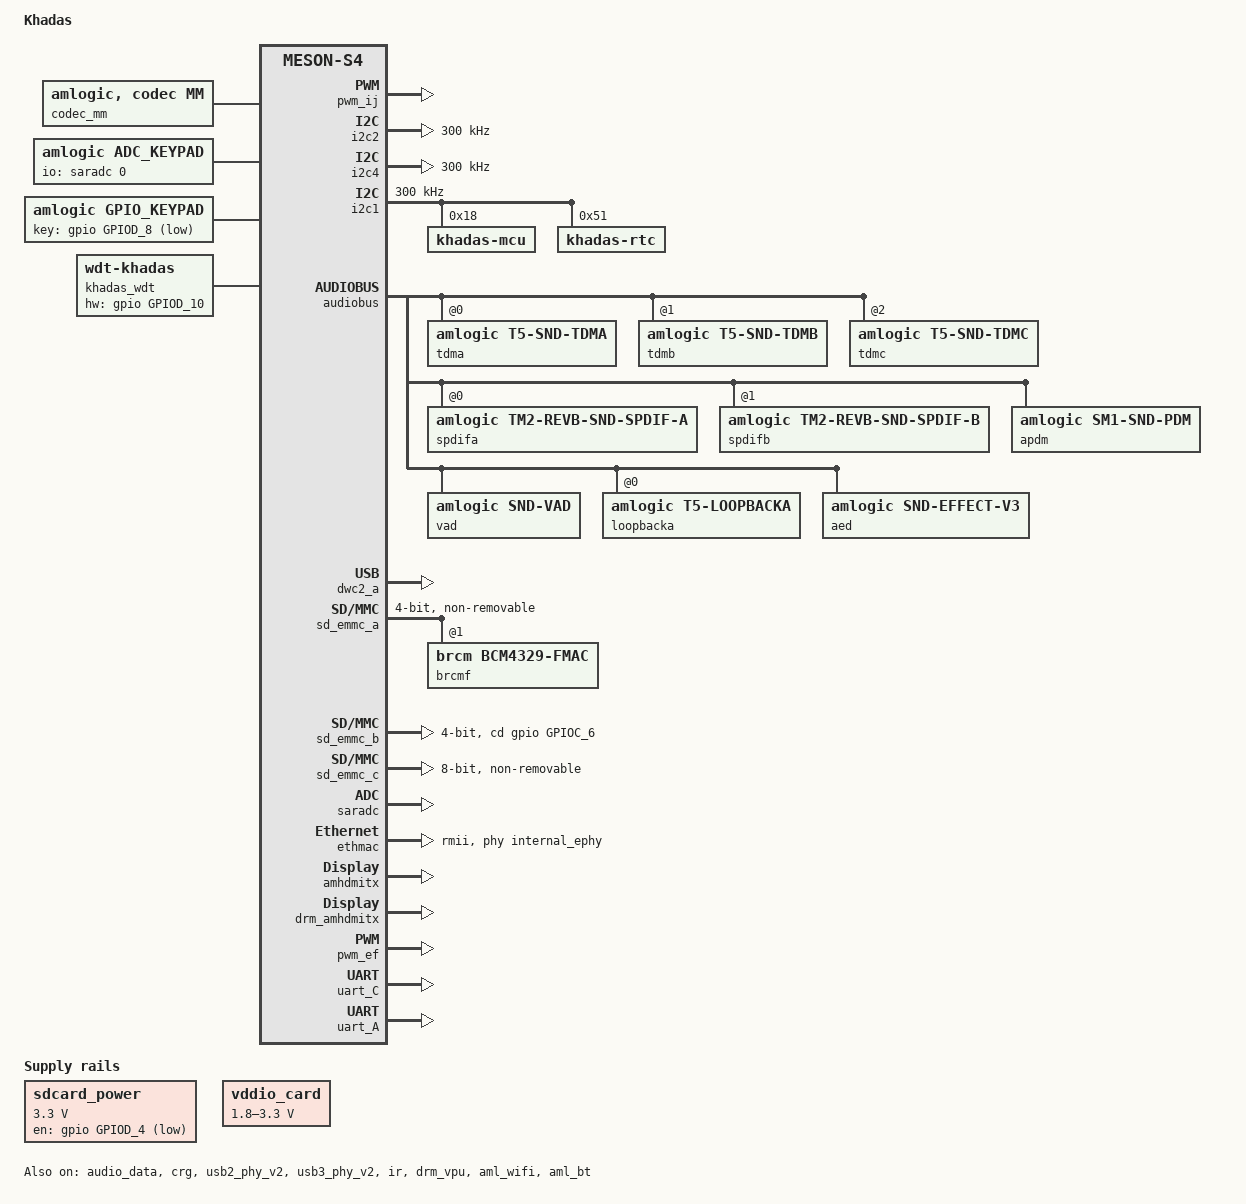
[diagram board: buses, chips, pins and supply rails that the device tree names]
// SPDX-License-Identifier: (GPL-2.0+ OR MIT)
/*
 * Copyright (c) 2019 Amlogic, Inc. All rights reserved.
 */

/dts-v1/;

#include "meson-s4.dtsi"
#include "mesons4_drm.dtsi"
#include "partition_mbox_ab.dtsi"
#include <dt-bindings/input/input.h>

/ {
	model = "Khadas";
	amlogic-dt-id = "kvim1s";
	compatible = "Khadas, kvim1s";
	interrupt-parent = <&gic>;
	#address-cells = <2>;
	#size-cells = <2>;

	aliases {
		serial0 = &uart_B;
		serial1 = &uart_A;
		serial2 = &uart_C;
		serial3 = &uart_D;
		serial4 = &uart_E;
		i2c0 = &i2c0;
		i2c1 = &i2c1;
		i2c2 = &i2c2;
		i2c3 = &i2c3;
		i2c4 = &i2c4;
		spi0 = &spifc;
		spi1 = &spicc0;
		tsensor0 = &p_tsensor;
	};

	memory@00000000 {
		device_type = "memory";
		linux,usable-memory = <0x0 0x0 0x0 0x80000000>;
	};

	reserved-memory {
		#address-cells = <2>;
		#size-cells = <2>;
		ranges;

		/* global autoconfigured region for contiguous allocations */
		ramoops@0x07400000 {
			compatible = "ramoops";
			reg = <0x0 0x07400000 0x0 0x00100000>;
			record-size = <0x20000>;
			console-size = <0x40000>;
			ftrace-size = <0x80000>;
			pmsg-size = <0x10000>;
			bconsole-size = <0x10000>;
		};

		secmon_reserved:linux,secmon {
			compatible = "shared-dma-pool";
			reusable;
			size = <0x0 0x3400000>;
			alignment = <0x0 0x400000>;
			alloc-ranges = <0x0 0x05000000 0x0 0x3400000>;
		};

		logo_reserved:linux,meson-fb {
			compatible = "shared-dma-pool";
			reusable;
			size = <0x0 0x800000>;
			alignment = <0x0 0x400000>;
			alloc-ranges = <0x0 0x7f800000 0x0 0x800000>;
		};

		ion_cma_reserved:linux,ion-dev {
			compatible = "shared-dma-pool";
			reusable;
			size = <0x0 0x5c00000>;
			alignment = <0x0 0x400000>;
		};
		ion_fb_reserved:linux,ion-fb {
			compatible = "shared-dma-pool";
			reusable;
			/* 1920x1080x4x4 round up 4M align */
			size = <0x0 0x2400000>;
			alignment = <0x0 0x400000>;
		};
		/*di CMA pool */
		di_cma_reserved:linux,di_cma {
			compatible = "shared-dma-pool";
			reusable;
			/* buffer_size = 3621952(yuv422 8bit)
			 *  | 4736064(yuv422 10bit)
			 *  | 4074560(yuv422 10bit full pack mode)
			 * 10x3621952=34.6M(0x23) support 8bit
			 * 10x4736064=45.2M(0x2e) support 12bit
			 * 10x4074560=40M(0x28) support 10bit
			 */
			//size = <0x0 0x0B000000>;
			//size = <0x0 0x0>;
			alignment = <0x0 0x400000>;
		};

		/*  POST PROCESS MANAGER */
		ppmgr_reserved:linux,ppmgr {
			compatible = "shared-dma-pool";
			size = <0x0>;
		};

		codec_mm_cma:linux,codec_mm_cma {
			compatible = "shared-dma-pool";
			reusable;
			/* ion_codec_mm max can alloc size 80M*/
			size = <0x0 0x1b000000>;
			alignment = <0x0 0x400000>;
			linux,contiguous-region;
		};

		/* codec shared reserved */
		codec_mm_reserved:linux,codec_mm_reserved {
			compatible = "amlogic, codec-mm-reserved";
			size = <0x0 0x0>;
			alignment = <0x0 0x100000>;
			//no-map;
		};

		/*  vdin0 CMA pool */
		//vdin0_cma_reserved:linux,vdin0_cma {
		//	compatible = "shared-dma-pool";
		//	reusable;
			/* up to 1920x1080 yuv422 8bit and 5 buffers
			 * 1920x1080x2x5 = 20 M
			 */
		//	size = <0x0 0x01400000>;
		//	alignment = <0x0 0x400000>;
		//};
		/*  vdin1 CMA pool */
		vdin1_cma_reserved:linux,vdin1_cma {
			compatible = "shared-dma-pool";
			reusable;
			/* up to 1920x1080 yuv422 8bit and 5 buffers
			 * 1920x1080x2x5 = 20 M
			 */
			size = <0x0 0x01400000>;
			alignment = <0x0 0x400000>;
		};

		/* demod_reserved:linux,demod {
		 *	compatible = "amlogic, demod-mem";
		 *	size = <0x0 0x6400000>; //8M //100m 0x6400000
		 *	alloc-ranges = <0x0 0x0 0x0 0x30000000>;
		 *	//multi-use;
		 *	//no-map;
		 * };
		 */

		demod_cma_reserved:linux,demod_cma {
			compatible = "shared-dma-pool";
			reusable;
			/* 20M */
			size = <0x0 0x0>;
			alignment = <0x0 0x400000>;
		};
	};
	sdcard_power: regulator-sdcard {
		compatible = "regulator-fixed";
		regulator-name = "SDCARD_POWER";
		regulator-min-microvolt = <3300000>;
		regulator-max-microvolt = <3300000>;
		gpio = <&gpio GPIOD_4 GPIO_ACTIVE_LOW>;
		enable-active-low;
		regulator-always-on;
	};

	vddio_card: gpio-regulator {
		compatible = "regulator-gpio";
		regulator-name = "VDDIO_CARD";
		regulator-min-microvolt = <1800000>;
		regulator-max-microvolt = <3300000>;
		gpios = <&gpio GPIOD_9 GPIO_ACTIVE_HIGH>;
		gpios-states = <1>;
		states = <1800000 1
			3300000 0>;
	};

	codec_mm {
		compatible = "amlogic, codec, mm";
		memory-region = <&codec_mm_cma &codec_mm_reserved>;
		dev_name = "codec_mm";
		status = "okay";
	};
	amdolby_vision {
		compatible = "amlogic, dolby_vision_sc2";
		dev_name = "aml_amdolby_vision_driver";
		status = "disabled";
		tv_mode = <0>;/*1:enabel ;0:disable*/
	};

	ionvideo {
		compatible = "amlogic, ionvideo";
		dev_name = "ionvideo";
		status = "okay";
	};

	amlvideo2_0 {
		compatible = "amlogic, amlvideo2";
		dev_name = "amlvideo2";
		status = "okay";
		amlvideo2_id = <0>;
		cma_mode = <1>;
	};

	amlvideo2_1 {
		compatible = "amlogic, amlvideo2";
		dev_name = "amlvideo2";
		status = "okay";
		amlvideo2_id = <1>;
		cma_mode = <1>;
	};

	ppmgr {
		compatible = "amlogic, ppmgr";
		memory-region = <&ppmgr_reserved>;
		dev_name = "ppmgr";
		status = "okay";
	};

	amlvecm {
		compatible = "amlogic, vecm";
		dev_name = "aml_vecm";
		status = "okay";
		gamma_en = <0>;/*1:enabel ;0:disable*/
		wb_en = <0>;/*1:enabel ;0:disable*/
		cm_en = <0>;/*1:enabel ;0:disable*/
		/*0: 709/601  1: bt2020*/
		tx_op_color_primary = <0>;
	};

	multi-di {
		compatible = "amlogic, dim-s4";
		status = "okay";
		/* 0:use reserved; 1:use cma; 2:use cma as reserved */
		flag_cma = <4>;	//<1>;
		//memory-region = <&di_reserved>;
		//memory-region = <&di_cma_reserved>;
		interrupts = <0 203 1
				0 202 1>;
		interrupt-names = "pre_irq", "post_irq";
		clocks = <&clkc CLKID_VPU_CLKB>,
			<&clkc CLKID_VPU>;
		clock-names = "vpu_clkb",
			"vpu_mux";
		clock-range = <334 667>;
		/* buffer-size = <3621952>;(yuv422 8bit) */
		buffer-size = <4074560>;/*yuv422 fullpack*/
		/* reserve-iomap = "true"; */
		/* if enable nr10bit, set nr10bit-support to 1 */
		post-wr-support = <1>;
		nr10bit-support = <1>;
		nrds-enable = <1>;
		pps-enable = <1>;
	};

	provisionkey {
		compatible = "amlogic, provisionkey";
		status = "disabled";
		key-permit-default = "write";
		//new key not need add dts if started with KEY_PROVISION_
		KEY_PROVISION_XXX { };
		//test_my_added_keyname { };
	};//End provisionkey

	unifykey{
		compatible = "amlogic,unifykey";
		status = "ok";
		unifykey-num = <19>;
		unifykey-index-0 = <&keysn_0>;
		unifykey-index-1 = <&keysn_1>;
		unifykey-index-2 = <&keysn_2>;
		unifykey-index-3 = <&keysn_3>;
		unifykey-index-4 = <&keysn_4>;
		unifykey-index-5 = <&keysn_5>;
		unifykey-index-6 = <&keysn_6>;
		unifykey-index-7 = <&keysn_7>;
		unifykey-index-8 = <&keysn_8>;
		unifykey-index-9 = <&keysn_9>;
		unifykey-index-10= <&keysn_10>;
		unifykey-index-11= <&keysn_11>;
		unifykey-index-12= <&keysn_12>;
		unifykey-index-13= <&keysn_13>;
		unifykey-index-14= <&keysn_14>;
		unifykey-index-15= <&keysn_15>;
		unifykey-index-16= <&keysn_16>;
		unifykey-index-17= <&keysn_17>;
		unifykey-index-18= <&keysn_18>;

		keysn_0: key_0{
			key-name = "usid";
			key-device = "normal";
			key-permit = "read","write","del";
		};
		keysn_1:key_1{
			key-name = "mac";
			key-device = "normal";
			key-permit = "read","write","del";
		};
		keysn_2:key_2{
			key-name = "hdcp";
			key-device = "secure";
			key-type = "sha1";
			key-permit = "read","write","del";
		};
		keysn_3:key_3{
			key-name = "secure_boot_set";
			key-device = "efuse";
			key-permit = "write";
		};
		keysn_4:key_4{
			key-name = "mac_bt";
			key-device = "normal";
			key-permit = "read","write","del";
			key-type  = "mac";
		};
		keysn_5:key_5{
			key-name = "mac_wifi";
			key-device = "normal";
			key-permit = "read","write","del";
			key-type = "mac";
		};
		keysn_6:key_6{
			key-name = "hdcp2_tx";
			key-device = "normal";
			key-permit = "read","write","del";
		};
		keysn_7:key_7{
			key-name = "hdcp2_rx";
			key-device = "normal";
			key-permit = "read","write","del";
		};
		keysn_8:key_8{
			key-name = "widevinekeybox";
			key-device = "secure";
			key-permit = "read","write","del";
		};
		keysn_9:key_9{
			key-name = "deviceid";
			key-device = "normal";
			key-permit = "read","write","del";
		};
		keysn_10:key_10{
			key-name = "hdcp22_fw_private";
			key-device = "secure";
			key-permit = "read","write","del";
		};
		keysn_11:key_11{
			key-name = "PlayReadykeybox25";
			key-device = "secure";
			key-permit = "read","write","del";
		};
		keysn_12:key_12{
			key-name = "prpubkeybox";// PlayReady
			key-device = "secure";
			key-permit = "read","write","del";
		};
		keysn_13:key_13{
			key-name = "prprivkeybox";// PlayReady
			key-device = "secure";
			key-permit = "read","write","del";
		};
		keysn_14:key_14{
			key-name = "attestationkeybox";// attestation key
			key-device = "secure";
			key-permit = "read","write","del";
		};
		keysn_15:key_15{
			key-name = "region_code";
			key-device = "normal";
			key-permit = "read","write","del";
		};
		keysn_16:key_16{
			key-name = "netflix_mgkid";
			key-device = "secure";
			key-permit = "read","write","del";
		};
		keysn_17:key_17{
			key-name = "attestationdevidbox";// attest dev id box
			key-device = "secure";
			key-permit = "read","write","del";
		};
		keysn_18:key_18{
			key-name = "oemkey";
			key-device = "normal";
			key-permit = "read","write","del";
		};
	};//End unifykey

	efusekey:efusekey{
		keynum = <4>;
		key0 = <&key_0>;
		key1 = <&key_1>;
		key2 = <&key_2>;
		key3 = <&key_3>;
		key_0:key_0{
			keyname = "mac";
			offset = <0>;
			size = <6>;
		};
		key_1:key_1{
			keyname = "mac_bt";
			offset = <6>;
			size = <6>;
		};
		key_2:key_2{
			keyname = "mac_wifi";
			offset = <12>;
			size = <6>;
		};
		key_3:key_3{
			keyname = "usid";
			offset = <18>;
			size = <16>;
		};
	};//End efusekey
	/* Audio Related start */

	auge_sound {
		compatible = "amlogic, auge-sound-card";
		aml-audio-card,name = "AML-AUGESOUND";

		aml-audio-card,dai-link@0 {
			format = "dsp_a";
			mclk-fs = <512>;
			//continuous-clock;
			//bitclock-inversion;
			//frame-inversion;
			/* master mode */
			bitclock-master = <&tdma>;
			frame-master = <&tdma>;
			/* slave mode */
			/*
			 * bitclock-master = <&tdmacodec>;
			 * frame-master = <&tdmacodec>;
			 */
			suffix-name = "alsaPORT-pcm";
			tdmacpu: cpu {
				sound-dai = <&tdma>;
				dai-tdm-slot-tx-mask =
							<1>;
				dai-tdm-slot-rx-mask =
							<1>;
				dai-tdm-slot-num = <2>;
				dai-tdm-slot-width = <16>;
				system-clock-frequency = <256000>;
			};
			tdmacodec: codec {
				sound-dai = <&dummy_codec>;
			};
		};

		aml-audio-card,dai-link@1 {
			format = "i2s";// "dsp_a";
			mclk-fs = <256>;
			continuous-clock;
			//bitclock-inversion;
			//frame-inversion;
			/* master mode */
			bitclock-master = <&tdmb>;
			frame-master = <&tdmb>;
			/* slave mode */
			//bitclock-master = <&tdmbcodec>;
			//frame-master = <&tdmbcodec>;
			/* suffix-name, sync with android audio hal
			 * what's the dai link used for
			 */
			suffix-name = "alsaPORT-i2s";
			cpu {
				sound-dai = <&tdmb>;
				dai-tdm-slot-tx-mask = <1 1>;
				dai-tdm-slot-rx-mask = <1 1>;
				dai-tdm-slot-num = <2>;
				/*
				 * dai-tdm-slot-tx-mask =
				 *	<1 1 1 1 1 1 1 1>;
				 * dai-tdm-slot-rx-mask =
				 *	<1 1 1 1 1 1 1 1>;
				 * dai-tdm-slot-num = <8>;
				 */
				dai-tdm-slot-width = <32>;
				system-clock-frequency = <12288000>;
			};
			tdmbcodec: codec {
				sound-dai = <&amlogic_codec>;
			};
		};

		aml-audio-card,dai-link@2 {
			format = "i2s";
			mclk-fs = <256>;
			//continuous-clock;
			//bitclock-inversion;
			//frame-inversion;
			/* master mode */
			bitclock-master = <&tdmc>;
			frame-master = <&tdmc>;
			/* slave mode */
			//bitclock-master = <&tdmccodec>;
			//frame-master = <&tdmccodec>;
			/* suffix-name, sync with android audio hal used for */
			cpu {
				sound-dai = <&tdmc>;
				dai-tdm-slot-tx-mask = <1 1>;
				dai-tdm-slot-rx-mask = <1 1>;
				dai-tdm-slot-num = <2>;
				dai-tdm-slot-width = <32>;
				system-clock-frequency = <12288000>;
			};
			tdmccodec: codec {
				sound-dai = <&dummy_codec>;
			};
		};

		aml-audio-card,dai-link@3 {
			mclk-fs = <64>;
			/* suffix-name, sync with android audio hal
			 * what's the dai link used for
			 */
			suffix-name = "alsaPORT-pdm-builtinmic";
			cpu {
				sound-dai = <&apdm>;
			};
			codec {
				sound-dai = <&dummy_codec>;
			};
		};

		aml-audio-card,dai-link@4 {
			mclk-fs = <128>;
			/* suffix-name, sync with android audio hal used for */
			suffix-name = "alsaPORT-spdif";
			cpu {
				sound-dai = <&spdifa>;
				system-clock-frequency = <6144000>;
			};
			codec {
				sound-dai = <&dummy_codec>;
			};
		};
		/* spdif_b to hdmi, only playback */
		aml-audio-card,dai-link@5 {
			mclk-fs = <128>;
			continuous-clock;
			/* suffix-name, sync with android audio hal
			 * what's the dai link used for
			 */
			suffix-name = "alsaPORT-spdifb";
			cpu {
				sound-dai = <&spdifb>;
				system-clock-frequency = <6144000>;
			};
			codec {
				sound-dai = <&dummy_codec>;
			};
		};

		aml-audio-card,dai-link@6 {
			mclk-fs = <256>;
			continuous-clock;
			suffix-name = "alsaPORT-loopback";
			cpu {
				sound-dai = <&loopbacka>;
				system-clock-frequency = <12288000>;
			};
			codec {
				sound-dai = <&dummy_codec>;
			};
		};
	};

	picdec {
		compatible = "amlogic, picdec";
		status = "okay";
	};

	audiolocker: locker {
		compatible = "amlogic, audiolocker";
		clock-names = "lock_out", "lock_in", "out_src",
					"in_src", "out_calc", "in_ref";
		interrupts = <GIC_SPI 1 IRQ_TYPE_EDGE_RISING>;
		interrupt-names = "irq";
		frequency = <49000000>; /* pll */
		dividor = <49>; /* locker's parent */
		status = "disabled";
	};/* Audio Related end */

	adc_keypad {
		compatible = "amlogic, adc_keypad";
		status = "okay";
		key_name = "home";
		key_num = <1>;
		io-channels = <&saradc 0>;
		io-channel-names = "key-chan-0";
		key_chan = <0>;
		key_code = <102>;
		key_val = <108>; //val=voltage/1800mV*1023
		key_tolerance = <40>;
	};

	gpio_keypad{
		compatible = "amlogic, gpio_keypad";
		status = "okay";
		scan_period = <20>;
		key_num = <1>;
		key_name = "power";
		key_code = <116>;
		key-gpios = <&gpio  GPIOD_8  GPIO_ACTIVE_LOW>;
		detect_mode = <0>;/*0:polling mode, 1:irq mode*/
	};
	khadas-hwver {
		compatible = "khadas-hwver";
		status = "okay";
        };

	khadas_wdt {
		compatible = "linux,wdt-khadas";
		status = "okay";
		hw_margin_ms = <500>;
		hw-gpios = <&gpio  GPIOD_10  GPIO_ACTIVE_HIGH>;
	};
};

&pwm_ij {
	status = "okay";
};

&i2c2 {
	status = "okay";
	pinctrl-names="default";
	pinctrl-0=<&i2c2_pins2>;
	clock-frequency = <300000>;
};

&i2c4 {
	status = "okay";
	pinctrl-names="default";
	pinctrl-0=<&i2c4_pins3>;
	clock-frequency = <300000>;
};

&i2c1 {
	status = "okay";
	pinctrl-names="default";
	pinctrl-0=<&i2c1_pins2>;
	clock-frequency = <300000>; /* default 100k */
	khadas-mcu@18 {
		    status = "okay";
		    compatible = "khadas-mcu";
		    reg = <0x18>;
		    fan,trig_temp_level0 = <50>;
		    fan,trig_temp_level1 = <60>;
		    fan,trig_temp_level2 = <70>;
		    fan,trig_temp_level3 = <80>;
		    hwver = "VIM1S.V10";
        };
        khadas-rtc {
            compatible = "khadas-rtc";
            reg = <0x51>;
       };
};

&vddcpu0 {
	status = "okay";
};

&CPU0 {
	multi_tables_available;
	operating-points-v2 = <&s905y4_opp_table0>,
		<&s905y4_opp_table1>,
		<&s905y4_opp_table2>,
		<&s905y4_opp_table3>;
};

&CPU1 {
	multi_tables_available;
	operating-points-v2 = <&s905y4_opp_table0>,
		<&s905y4_opp_table1>,
		<&s905y4_opp_table2>,
		<&s905y4_opp_table3>;
};

&CPU2 {
	multi_tables_available;
	operating-points-v2 = <&s905y4_opp_table0>,
		<&s905y4_opp_table1>,
		<&s905y4_opp_table2>,
		<&s905y4_opp_table3>;
};

&CPU3 {
	multi_tables_available;
	operating-points-v2 = <&s905y4_opp_table0>,
		<&s905y4_opp_table1>,
		<&s905y4_opp_table2>,
		<&s905y4_opp_table3>;
};

&audiobus {
	tdma: tdm@0 {
		compatible = "amlogic, t5-snd-tdma";
		#sound-dai-cells = <0>;
		dai-tdm-lane-slot-mask-in = <1>;
		dai-tdm-lane-slot-mask-out = <1 0>;
		dai-tdm-clk-sel = <0>;
		clocks = <&clkaudio CLKID_AUDIO_MCLK_A
				&clkc CLKID_MPLL0>;
		clock-names = "mclk", "clk_srcpll";
		//pinctrl-names = "tdm_pins";
		//pinctrl-0 = <&tdm_a
			//&tdm_d0_pins
			//&tdm_d1_pins
			//&tdma_clk_pins>;

		status = "okay";
	};

	tdmb: tdm@1 {
		compatible = "amlogic, t5-snd-tdmb";
		#sound-dai-cells = <0>;
		dai-tdm-lane-slot-mask-in = <1 0>;
		dai-tdm-lane-slot-mask-out = <1 1 1 1>;
		dai-tdm-clk-sel = <1>;
		clocks = <&clkaudio CLKID_AUDIO_MCLK_B
		        &clkaudio CLKID_AUDIO_MCLK_PAD2
				&clkc CLKID_MPLL1>;
		clock-names = "mclk", "mclk_pad",  "clk_srcpll";
        /*
		 * 0: tdmout_a;
		 * 1: tdmout_b;
		 * 2: tdmout_c;
		 * 3: spdifout;
		 * 4: spdifout_b;
		 */
		samesource_sel = <3>;

		pinctrl-names = "tdm_pins";
			pinctrl-0 = <&mclk_2_pins
				&tdm_b_pins
				&tdm_d4_pins
				&tdm_d5_pins
				&tdmb_clk_pins>;

		/*enable default mclk(12.288M), before extern codec start*/
		start_clk_enable = <1>;

		/*tdm clk tuning enable*/
		clk_tuning_enable = <1>;

		status = "okay";

		/* !!!For --TV platform-- ONLY */
		Channel_Mask {
			/*i2s has 4 pins, 8channel, mux output*/
			Spdif_samesource_Channel_Mask = "i2s_0/1";
		};
	};

	tdmc: tdm@2 {
		compatible = "amlogic, t5-snd-tdmc";
		#sound-dai-cells = <0>;
		dai-tdm-lane-slot-mask-in = <1>;
		dai-tdm-lane-slot-mask-out = <1>;
		dai-tdm-clk-sel = <2>;
		clocks = <&clkaudio CLKID_AUDIO_MCLK_C
				&clkaudio CLKID_AUDIO_MCLK_PAD0
				&clkc CLKID_MPLL2>;
		clock-names = "mclk", "mclk_pad", "clk_srcpll";
		/*
		 * 0: tdmout_a;
		 * 1: tdmout_b;
		 * 2: tdmout_c;
		 * 3: spdifout;
		 * 4: spdifout_b;
		 */
		samesource_sel = <3>;

		/*enable default mclk(12.288M), before extern codec start*/
		start_clk_enable = <1>;

		/*tdm clk tuning enable*/
		clk_tuning_enable = <1>;

		status = "okay";
	};

	spdifa: spdif@0 {
		compatible = "amlogic, tm2-revb-snd-spdif-a";
		#sound-dai-cells = <0>;
		clocks = <&clkc CLKID_MPLL0
				&clkc CLKID_FCLK_DIV4
				&clkaudio CLKID_AUDIO_GATE_SPDIFIN
				&clkaudio CLKID_AUDIO_GATE_SPDIFOUT_A
				&clkaudio CLKID_AUDIO_SPDIFIN
				&clkaudio CLKID_AUDIO_SPDIFOUT_A>;
		clock-names = "sysclk", "fixed_clk", "gate_spdifin",
				"gate_spdifout", "clk_spdifin", "clk_spdifout";
		interrupts =
				<GIC_SPI 35 IRQ_TYPE_EDGE_RISING>;

		interrupt-names = "irq_spdifin";
		pinctrl-names = "spdif_pins", "spdif_pins_mute";
		pinctrl-0 = <&spdifout>;
		pinctrl-1 = <&spdifout_a_mute>;

		/*spdif clk tuning enable*/
		clk_tuning_enable = <1>;

		status = "okay";
	};
	spdifb: spdif@1 {
		compatible = "amlogic, tm2-revb-snd-spdif-b";
		#sound-dai-cells = <0>;
		clocks = <&clkc CLKID_MPLL1 /*CLKID_HIFI_PLL*/
				&clkaudio CLKID_AUDIO_GATE_SPDIFOUT_B
				&clkaudio CLKID_AUDIO_SPDIFOUT_B>;
		clock-names = "sysclk",
				"gate_spdifout", "clk_spdifout";

		status = "okay";
	};
	apdm: pdm {
		compatible = "amlogic, sm1-snd-pdm";
		#sound-dai-cells = <0>;

		clocks = <&clkaudio CLKID_AUDIO_GATE_PDM
			&clkc CLKID_FCLK_DIV3
			&clkc CLKID_MPLL3
			&clkaudio CLKID_AUDIO_PDMIN0
			&clkaudio CLKID_AUDIO_PDMIN1>;
		clock-names = "gate",
			"sysclk_srcpll",
			"dclk_srcpll",
			"pdm_dclk",
			"pdm_sysclk";

		pinctrl-names = "pdm_pins";
		pinctrl-0 = <&pdmin>;

		/* mode 0~4, defalut:1 */
		filter_mode = <1>;

		status = "okay";
	};

	asrca: resample@0 {
		compatible = "amlogic, t5-resample-a";
		clocks = <&clkc CLKID_MPLL3
				&clkaudio CLKID_AUDIO_MCLK_F
				&clkaudio CLKID_AUDIO_RESAMPLE_A>;
		clock-names = "resample_pll", "resample_src", "resample_clk";
		/*same with toddr_src
		 *	TDMIN_A, 0
		 *	TDMIN_B, 1
		 *	TDMIN_C, 2
		 *	SPDIFIN, 3
		 *	PDMIN,  4
		 *	NONE,
		 *	TDMIN_LB, 6
		 *	LOOPBACK, 7
		 */
		resample_module = <4>;
		status = "disabled";
	};

	asrcb:resample@1 {
		compatible = "amlogic, t5-resample-b";
		clocks = <&clkc CLKID_MPLL3
			&clkaudio CLKID_AUDIO_MCLK_F
			&clkaudio CLKID_AUDIO_RESAMPLE_B>;
		clock-names = "resample_pll", "resample_src", "resample_clk";

		/*this resample is only used for loopback_A.*/
		capture_sample_rate = <16000>;

		status = "disabled";
	};

	vad:vad {
		compatible = "amlogic, snd-vad";
		#sound-dai-cells = <0>;

		clocks = <&clkaudio CLKID_AUDIO_GATE_TOVAD
			&clkc CLKID_FCLK_DIV5
			&clkaudio CLKID_AUDIO_VAD>;
		clock-names = "gate", "pll", "clk";

		interrupts = <GIC_SPI 39 IRQ_TYPE_EDGE_RISING
				GIC_SPI 44 IRQ_TYPE_EDGE_RISING>;
		interrupt-names = "irq_wakeup", "irq_frame_sync";

		/*
		 * Data src sel:
		 * 0: tdmin_a;
		 * 1: tdmin_b;
		 * 2: tdmin_c;
		 * 3: spdifin;
		 * 4: pdmin;
		 * 5: loopback_b;
		 * 6: tdmin_lb;
		 * 7: loopback_a;
		 */
		src = <4>;

		/*
		 * deal with hot word in user space or kernel space
		 * 0: in user space
		 * 1: in kernel space
		 */
		level = <1>;

		status = "okay";
	};

	loopbacka:loopback@0 {
		compatible = "amlogic, t5-loopbacka";
		#sound-dai-cells = <0>;

		clocks = <&clkaudio CLKID_AUDIO_GATE_PDM
			&clkc CLKID_FCLK_DIV3
			&clkc CLKID_MPLL3
			&clkaudio CLKID_AUDIO_PDMIN0
			&clkaudio CLKID_AUDIO_PDMIN1
			&clkc CLKID_MPLL0
			&clkaudio CLKID_AUDIO_MCLK_A>;
		clock-names = "pdm_gate",
			"pdm_sysclk_srcpll",
			"pdm_dclk_srcpll",
			"pdm_dclk",
			"pdm_sysclk",
			"tdminlb_mpll",
			"tdminlb_mclk";

		/* datain src
		 * 0: tdmin_a;
		 * 1: tdmin_b;
		 * 2: tdmin_c;
		 * 3: spdifin;
		 * 4: pdmin;
		 */
		datain_src = <4>;
		datain_chnum = <0>;
		datain_chmask = <0x0>;
		/* config which data pin for loopback */
		datain-lane-mask-in = <0 0 0 0>;

		/* calc mclk for datalb */
		mclk-fs = <256>;

		/* tdmin_lb src
		 * 0: tdmoutA
		 * 1: tdmoutB
		 * 2: tdmoutC
		 * 3: PAD_TDMINA_DIN*, refer to core pinmux
		 * 4: PAD_TDMINB_DIN*, refer to core pinmux
		 * 5: PAD_TDMINC_DIN*, refer to core pinmux
		 * 6: PAD_TDMINA_D*, oe, refer to core pinmux
		 * 7: PAD_TDMINB_D*, oe, refer to core pinmux
		 */
		/* if tdmin_lb >= 3, use external loopback */
		datalb_src = <2>;
		datalb_chnum = <2>;
		datalb_chmask = <0x3>;
		/* config which data pin as loopback */
		datalb-lane-mask-in = <1 0 0 0>;

		status = "okay";
	};

	loopbackb:loopback@1 {
		compatible = "amlogic, t5-loopbackb";
		#sound-dai-cells = <0>;

		clocks = <&clkaudio CLKID_AUDIO_GATE_PDM
			&clkc CLKID_FCLK_DIV3
			&clkc CLKID_MPLL3
			&clkaudio CLKID_AUDIO_PDMIN0
			&clkaudio CLKID_AUDIO_PDMIN1
			&clkc CLKID_MPLL0
			&clkaudio CLKID_AUDIO_MCLK_A>;
		clock-names = "pdm_gate",
			"pdm_sysclk_srcpll",
			"pdm_dclk_srcpll",
			"pdm_dclk",
			"pdm_sysclk",
			"tdminlb_mpll",
			"tdminlb_mclk";

		/* calc mclk for datain_lb */
		mclk-fs = <256>;

		/* datain src
		 * 0: tdmin_a;
		 * 1: tdmin_b;
		 * 2: tdmin_c;
		 * 3: spdifin;
		 * 4: pdmin;
		 */
		datain_src = <4>;
		datain_chnum = <4>;
		datain_chmask = <0xf>;
		/* config which data pin for loopback */
		datain-lane-mask-in = <1 0 1 0>;

		/* tdmin_lb src
		 * 0: tdmoutA
		 * 1: tdmoutB
		 * 2: tdmoutC
		 * 3: PAD_TDMINA_DIN*, refer to core pinmux
		 * 4: PAD_TDMINB_DIN*, refer to core pinmux
		 * 5: PAD_TDMINC_DIN*, refer to core pinmux
		 * 6: PAD_TDMINA_D*, oe, refer to core pinmux
		 * 7: PAD_TDMINB_D*, oe, refer to core pinmux
		 */
		/* if tdmin_lb >= 3, use external loopback */
		datalb_src = <1>;
		datalb_chnum = <2>;
		datalb_chmask = <0x3>;
		/* config which data pin as loopback */
		datalb-lane-mask-in = <1 0 0 0>;

		status = "disabled";
	};
	aed:effect {
		compatible = "amlogic, snd-effect-v3";
		#sound-dai-cells = <0>;
		clocks = <&clkaudio CLKID_AUDIO_GATE_EQDRC
			&clkc CLKID_FCLK_DIV5
			&clkaudio CLKID_AUDIO_EQDRC>;
		clock-names = "gate", "srcpll", "eqdrc";
		/*
		 * 0:tdmout_a
		 * 1:tdmout_b
		 * 2:tdmout_c
		 * 3:spdifout
		 * 4:spdifout_b
		 */
		eqdrc_module = <2>;
		/* max 0xf, each bit for one lane, usually one lane */
		lane_mask = <0x1>;
		/* max 0xff, each bit for one channel */
		channel_mask = <0x3>;
		status = "okay";
	};
}; /* end of audiobus */

&pinctrl_audio {
	mclk_2_pins: mclk_2_pin {
		mux { /* GPIOZ_6 */
			groups = "mclk2";
			function = "mclk";
		};
	};

	tdm_d4_pins: tdm_d4_pin {
		mux {
			groups = "tdm_d4";
			function = "tdmoutb_lane0";
		};
	};

	tdm_d5_pins: tdm_d5_pin {
		mux {
			groups = "tdm_d5";
			function = "tdminb_lane0";
		};
	};

	tdmb_clk_pins: tdm_clk_pin {
		mux {
			groups = "tdm_sclk2", "tdm_lrclk2";
			function = "tdm_clk_outb";
		};
	};
};

&periphs_pinctrl {
	tdm_b_pins: tdm_b_pin {
		mux { /* GPIOX_11, GPIOX_10, GPIOX_9, GPIOX_8 */
			groups = "tdm_sclk2",
				"tdm_fs2",
				"tdm_d4_z",
				"tdm_d5_z";
			function = "tdm";
		};
	};

	pdmin: pdmin {
		mux { /* GPIOD_8, GPIOD_9 */
			groups = "pdm_dclk_d",
				"pdm_din0_d";
			function = "pdm";
		};
	};

	spdifout: spdifout {
		mux { /* GPIOZ_9 */
			groups = "spdif_out_z";
			function = "spdif_out";
		};
	};

	spdifout_a_mute: spdifout_a_mute {
		mux { /* GPIOZ_9 */
			groups = "GPIOZ_9";
			function = "gpio_periphs";
			output-low;
		};
	};

}; /* end of periphs_pinctrl */

&audio_data {
	status = "okay";
};

&dwc2_a {
	status = "okay";
	/** 0: normal, 1: otg+dwc3 host only, 2: otg+dwc3 device only*/
	controller-type = <2>;
};

&crg {
	status = "okay";
};

&usb2_phy_v2 {
	status = "okay";
	portnum = <2>;
};

&usb3_phy_v2 {
	status = "okay";
	portnum = <0>;
	otg = <1>;
	/*gpio-vbus-power = "GPIOH_6";*/
	/*gpios = <&gpio GPIOH_6 GPIO_ACTIVE_HIGH>;*/
};

&pcie {
	reset-gpio = <&gpio GPIOX_7 GPIO_ACTIVE_HIGH>;
	status = "disable";
};

/* SDIO */
&sd_emmc_a {
	status = "okay";
	pinctrl-0 = <&sdio_pins>;
	pinctrl-1 = <&sdio_clk_gate_pins>;
	pinctrl-names = "default", "clk-gate";
	#address-cells = <1>;
	#size-cells = <0>;

	bus-width = <4>;
	cap-sd-highspeed;
	sd-uhs-sdr50;
	sd-uhs-sdr104;
	max-frequency = <200000000>;

	non-removable;
	disable-wp;

	//vmmc-supply = <&vddao_3v3>;
	//vqmmc-supply = <&vddio_ao1v8>;

	brcmf: wifi@1 {
		reg = <1>;
		compatible = "brcm,bcm4329-fmac";
	};
};

/* SD card */
&sd_emmc_b {
	status = "okay";
	pinctrl-0 = <&sdcard_pins>;
	pinctrl-1 = <&sdcard_clk_gate_pins>;
	pinctrl-2 = <&sd_1bit_pins>;
	pinctrl-3 = <&sd_to_ao_uart_clr_pins
		&sdcard_pins &ao_to_sd_uart_pins>;
	pinctrl-4 = <&sd_to_ao_uart_clr_pins
		&sd_1bit_pins &ao_to_sd_uart_pins>;
	pinctrl-5 = <&sdcard_pins &ao_uart_pins>;
	pinctrl-6 = <&sd_to_ao_uart_clr_pins
		&ao_to_sd_uart_pins>;
	pinctrl-7 = <&sdcard_pins &ao_uart_pins>;
	pinctrl-8 = <&sd_to_ao_uart_clr_pins
		&ao_to_sd_uart_pins>;
	pinctrl-names = "sd_default",
			"clk-gate",
			"sd_1bit_pins",
			"sd_clk_cmd_uart_pins",
			"sd_1bit_uart_pins",
			"sd_to_ao_uart_pins",
			"ao_to_sd_uart_pins",
			"sd_to_ao_jtag_pins",
			"ao_to_sd_jtag_pins";
	bus-width = <4>;
	cap-sd-highspeed;
	sd-uhs-sdr12;
	sd-uhs-sdr25;
	sd-uhs-sdr50;
	sd-uhs-sdr104;
	max-frequency = <200000000>;
	disable-wp;

	cd-gpios = <&gpio GPIOC_6 GPIO_ACTIVE_HIGH>;
	dat1-gpios = <&gpio GPIOC_1 GPIO_ACTIVE_HIGH>;
	//vmmc-supply = <&vddao_3v3>;
	vqmmc-supply = <&vddio_card>;
};

&sd_emmc_c {
	status = "okay";
	pinctrl-0 = <&emmc_pins>, <&emmc_ds_pins>;
	pinctrl-1 = <&emmc_clk_gate_pins>;
	pinctrl-names = "default", "clk-gate";

	bus-width = <8>;
	cap-mmc-highspeed;
	mmc-ddr-1_8v;
	mmc-hs200-1_8v;
//	mmc-hs400-1_8v;
	max-frequency = <200000000>;
	non-removable;
	disable-wp;

//	mmc-pwrseq = <&emmc_pwrseq>;
//	vmmc-supply = <&vddao_3v3>;
//	vqmmc-supply = <&vddao_1v8>;
};

&saradc {
	status = "okay";
};

&ethmac {
	status = "okay";
	phy-handle = <&internal_ephy>;
	phy-mode = "rmii";
};

&ir {
	status = "okay";
	pinctrl-0 = <&remote_pins>;
	pinctrl-names = "default";
};

&spicc0 {
	status = "disabled";
	pinctrl-names = "default";
	pinctrl-0 = <&spicc0_pins_x>;
	cs-gpios = <&gpio GPIOX_10 0>;
};

&spifc {
	status = "disabled";
	spi-nor@0 {
		status = "disabled";
	};
};

&fb {
	status = "disabled";
	display_size_default = <1920 1080 1920 2160 32>;
	mem_size = <0x00800000 0x1980000 0x100000>;
	logo_addr = "0x7f800000";
	mem_alloc = <0>;
	pxp_mode = <0>; /** 0:normal mode 1:pxp mode */
};

&drm_vpu {
	status = "okay";
	logo_addr = "0x7f800000";

};

&amhdmitx {
	status = "okay";
};

&drm_amhdmitx {
	status = "okay";
	hdcp = "disabled";
};

&drm_lcd {
	status = "disabled";
};

&vpu {
	clk_level = <7>;
};

/*if you want to use vdin just modify status to "ok"*/
&vdin0 {
	/*compatible = "amlogic, vdin-sc2";*/
	/*memory-region = <&vdin0_cma_reserved>;*/
	/*status = "disabled";*/
	/* up to 1920x1080 yuv422 8bit and 5 buffers
	 * 1920x1080x2x5 = 20 M
	 */
	cma_size = <20>;
	/*vdin write mem color depth support:
	 *bit0:support 8bit
	 *bit1:support 9bit
	 *bit2:support 10bit
	 *bit3:support 12bit
	 *bit4:support yuv422 10bit full pack mode (from txl new add)
	 */
	tv_bit_mode = <0x1>;
};

&vdin1 {
	/*compatible = "amlogic, vdin-sc2";*/
	memory-region = <&vdin1_cma_reserved>;
	/*status = "disabled";*/
	/*vdin write mem color depth support:
	 *bit0:support 8bit
	 *bit1:support 9bit
	 *bit2:support 10bit
	 *bit3:support 12bit
	 */
	tv_bit_mode = <1>;
};

&aml_wifi{
	status = "okay";
	interrupt-gpios = <&gpio  GPIOX_7  GPIO_ACTIVE_HIGH>;
	power_on-gpios = <&gpio   GPIOX_6  GPIO_ACTIVE_HIGH>;
};

&aml_bt {
	status = "okay";
	reset-gpios = <&gpio    GPIOX_17 GPIO_ACTIVE_HIGH>;
	bt_en-gpios = <&gpio    GPIOX_17 GPIO_ACTIVE_HIGH>;
	btwakeup-gpios = <&gpio    GPIOX_18 GPIO_ACTIVE_HIGH>;
	hostwake-gpios = <&gpio GPIOX_19 GPIO_ACTIVE_HIGH>;
};

&pwm_ef {
	pinctrl-0 = <&pwm_f_pins2>;
	pinctrl-names = "default";
        status = "okay";
};

&state_led {
        status = "okay";
};

&uart_C {
	status = "okay";
	uart-has-rtscts;
};

&uart_A {
	status = "okay";
	uart-has-rtscts;
};

&gpu {
	tbl =  <&dvfs285_cfg
		&dvfs400_cfg
		&dvfs500_cfg
		&dvfs666_cfg
		&dvfs850_cfg
		&dvfs850_cfg>;
};
